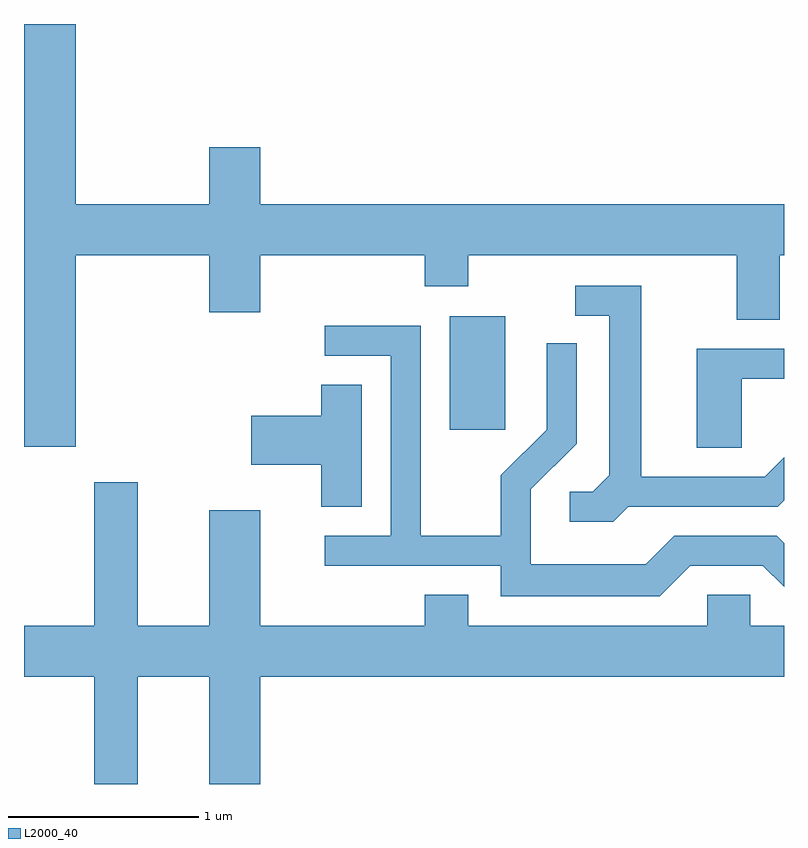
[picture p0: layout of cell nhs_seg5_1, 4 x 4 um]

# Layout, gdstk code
import gdstk
lib = gdstk.Library(unit=1e-6, precision=1e-09)
def R(c, l, rs):  # rectangles x0, y0, x1, y1
    for r in rs: c.add(gdstk.rectangle(r[:2], r[2:], *l))
def P(c, l, *ps):  # polygons
    for p in ps: c.add(gdstk.Polygon(p, *l))
L2000_40 = (2000, 40)

nhs_seg5_1 = lib.new_cell('nhs_seg5_1')
R(nhs_seg5_1, L2000_40, [(187.851,1395.936,188.144,1396.534)])
P(nhs_seg5_1, L2000_40, [(185.884,1396.856),(186.586,1396.856),(186.586,1396.556),(186.854,1396.556),(186.854,1396.856),(187.721,1396.856),(187.721,1396.691),(187.949,1396.691),(187.949,1396.856),(189.361,1396.856),(189.361,1396.516),(189.589,1396.516),(189.589,1396.856),(189.611,1396.856),(189.611,1397.124),(186.854,1397.124),(186.854,1397.424),(186.586,1397.424),(186.586,1397.124),(185.884,1397.124),(185.884,1398.072),(185.611,1398.072),(185.611,1395.846),(185.884,1395.846)],
  [(188.792,1395.531),(189.577,1395.531),(189.611,1395.565),(189.611,1395.792),(189.509,1395.689),(188.859,1395.689),(188.859,1396.694),(188.513,1396.694),(188.513,1396.536),(188.691,1396.536),(188.691,1395.697),(188.604,1395.609),(188.483,1395.609),(188.483,1395.451),(188.712,1395.451)],
  [(189.117,1395.221),(189.499,1395.221),(189.611,1395.109),(189.611,1395.34),(189.572,1395.379),(189.034,1395.379),(188.884,1395.229),(188.279,1395.229),(188.279,1395.624),(188.519,1395.864),(188.519,1396.393),(188.361,1396.393),(188.361,1395.937),(188.121,1395.697),(188.121,1395.379),(187.699,1395.379),(187.699,1396.484),(187.193,1396.484),(187.193,1396.326),(187.541,1396.326),(187.541,1395.379),(187.193,1395.379),(187.193,1395.221),(188.121,1395.221),(188.121,1395.061),(188.957,1395.061)],
  [(189.389,1396.206),(189.611,1396.206),(189.611,1396.364),(189.151,1396.364),(189.151,1395.841),(189.389,1395.841)],
  [(187.389,1396.174),(187.176,1396.174),(187.176,1396.009),(186.806,1396.009),(186.806,1395.751),(187.176,1395.751),(187.176,1395.531),(187.389,1395.531)],
  [(186.209,1394.636),(186.586,1394.636),(186.586,1394.072),(186.854,1394.072),(186.854,1394.636),(189.611,1394.636),(189.611,1394.904),(189.434,1394.904),(189.434,1395.069),(189.206,1395.069),(189.206,1394.904),(187.949,1394.904),(187.949,1395.069),(187.721,1395.069),(187.721,1394.904),(186.854,1394.904),(186.854,1395.514),(186.586,1395.514),(186.586,1394.904),(186.209,1394.904),(186.209,1395.659),(185.981,1395.659),(185.981,1394.904),(185.611,1394.904),(185.611,1394.636),(185.981,1394.636),(185.981,1394.072),(186.209,1394.072)])

lib.write_gds('nhs_seg5_1.gds')
